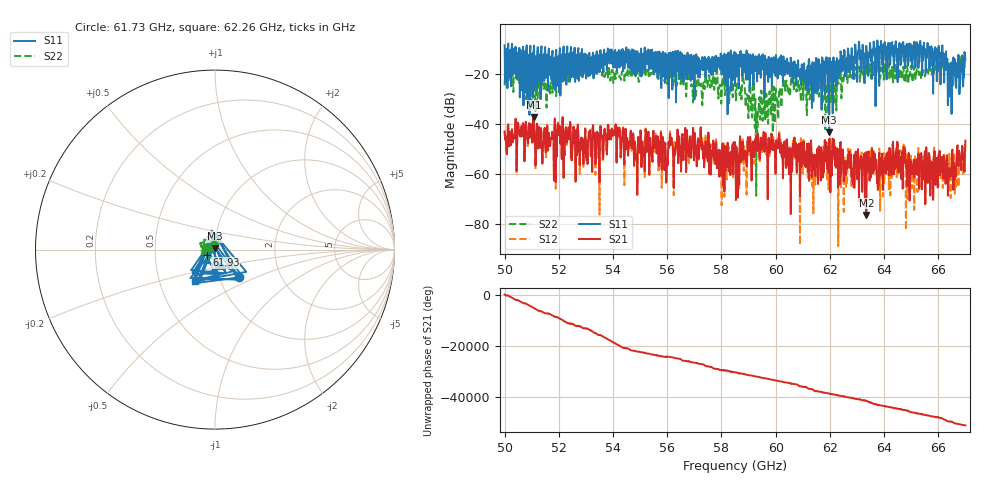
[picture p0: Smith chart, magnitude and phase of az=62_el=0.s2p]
!Created with skrf (http://scikit-rf.org).
# GHz S RI R 50.0
!freq ReS11 ImS11 ReS21 ImS21 ReS12 ImS12 ReS22 ImS22
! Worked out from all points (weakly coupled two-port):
!   1001 points, 50 GHz to 67 GHz, reference 50 ohm
!   highest |S21| = -37.18 dB at 51.07 GHz (marker M1); lowest = -76.2 dB at 63.34 GHz (marker M2)
!   lowest |S11| = -43.2 dB at 61.97 GHz (marker M3), VSWR 1.01, Z = 49.8 + j0.663 ohm
!   |S11| at or under -10 dB: 52.72 GHz to 53.81 GHz (1.087 GHz wide, 2.04 % of centre); 55.17 GHz to 62.66 GHz (7.496 GHz wide, 12.7 % of centre); 66.16 GHz to end of sweep (the widest 3 of 62)
!   |S22| runs from -68.6 to -13.0 dB; largest |S21 - S12| = 0.0023
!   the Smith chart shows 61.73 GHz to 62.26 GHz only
!   S11 on the Smith chart (normalised r, x): 61.73 GHz: 1.24, -0.40; 61.93 GHz: 0.91, -0.06; 62.26 GHz: 0.75, -0.28
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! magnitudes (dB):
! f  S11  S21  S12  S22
! 50 GHz  -8.6  -42.9  -42.7  -24.6
! 51.07 GHz  -10.9  -37.2  -37.4  -24.9
! 52.84 GHz  -12.6  -45.4  -46.0  -19.9
! 53.23 GHz  -19.9  -59.1  -59.0  -18.4
! 53.42 GHz  -19.7  -45.5  -45.6  -18.4
! 54.03 GHz  -11.2  -42.7  -42.0  -23.2
! 54.86 GHz  -14.3  -51.9  -53.9  -18.3
! 55.68 GHz  -13.5  -56.8  -58.6  -22.1
! 58.5 GHz  -24.7  -47.2  -47.4  -23.1
! 59.11 GHz  -12.7  -62.5  -56.8  -31.6
! 59.3 GHz  -14.9  -50.9  -48.4  -35.7
! 60.34 GHz  -14.7  -53.1  -52.8  -24.7
! 61.34 GHz  -33.6  -61.2  -64.7  -25.5
! 61.73 GHz  -13.8  -61.4  -57.3  -32.1
! 61.93 GHz  -25.1  -53.4  -52.5  -35.2
! 61.97 GHz  -43.2  -50.5  -51.4  -22.7
! 62.26 GHz  -13.6  -52.3  -53.0  -25.2
! 63.34 GHz  -8.8  -76.2  -64.9  -17.2
! 64.18 GHz  -12.0  -60.5  -66.0  -17.6
! 66.08 GHz  -24.2  -59.2  -58.1  -15.6
! 66.41 GHz  -20.7  -57.5  -51.9  -17.1
! 67 GHz  -14.3  -46.6  -46.9  -14.6
